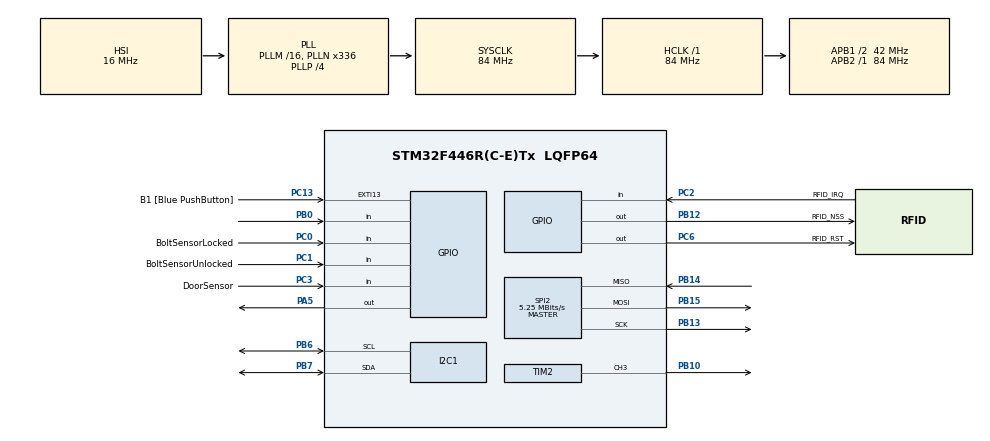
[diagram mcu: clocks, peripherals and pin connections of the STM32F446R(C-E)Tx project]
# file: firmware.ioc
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I2C1.I2C_Mode=I2C_Standard
Mcu.Family=STM32F4
Mcu.Name=STM32F446R(C-E)Tx
Mcu.Package=LQFP64
NUCLEO-F446RE.LD1=true
NVIC.PriorityGroup=NVIC_PRIORITYGROUP_0
PA13.GPIO_Label=TMS
PA13.Signal=SYS_JTMS-SWDIO
PA14.GPIO_Label=TCK
PA14.Signal=SYS_JTCK-SWCLK
PA2.GPIO_Label=USART_TX
PA2.Signal=USART2_TX
PA3.GPIO_Label=USART_RX
PA3.Signal=USART2_RX
PA5.Signal=GPIO_Output
PB0.Signal=GPIO_Input
PB10.Signal=S_TIM2_CH3
PB12.GPIO_Label=RFID_NSS
PB12.GPIO_PuPd=GPIO_PULLUP
PB12.PinState=GPIO_PIN_SET
PB12.Signal=GPIO_Output
PB13.Mode=Full_Duplex_Master
PB13.Signal=SPI2_SCK
PB14.Mode=Full_Duplex_Master
PB14.Signal=SPI2_MISO
PB15.Mode=Full_Duplex_Master
PB15.Signal=SPI2_MOSI
PB3.GPIO_Label=SWO
PB3.Signal=SYS_JTDO-SWO
PB6.Mode=I2C
PB6.Signal=I2C1_SCL
PB7.Mode=I2C
PB7.Signal=I2C1_SDA
PC0.GPIO_Label=BoltSensorLocked
PC0.GPIO_PuPd=GPIO_PULLUP
PC0.Signal=GPIO_Input
PC1.GPIO_Label=BoltSensorUnlocked
PC1.GPIO_PuPd=GPIO_PULLUP
PC1.Signal=GPIO_Input
PC13.GPIO_Label=B1 [Blue PushButton]
PC13.GPIO_ModeDefaultEXTI=GPIO_MODE_IT_FALLING
PC13.Signal=GPXTI13
PC14-OSC32_IN.Signal=RCC_OSC32_IN
PC15-OSC32_OUT.Signal=RCC_OSC32_OUT
PC2.GPIO_Label=RFID_IRQ
PC2.GPIO_PuPd=GPIO_PULLUP
PC2.Signal=GPIO_Input
PC3.GPIO_Label=DoorSensor
PC3.GPIO_PuPd=GPIO_PULLUP
PC3.Signal=GPIO_Input
PC6.GPIO_Label=RFID_RST
PC6.PinState=GPIO_PIN_SET
PC6.Signal=GPIO_Output
PH0-OSC_IN.Signal=RCC_OSC_IN
PH1-OSC_OUT.Signal=RCC_OSC_OUT
ProjectManager.HeapSize=0x200
ProjectManager.StackSize=0x400
ProjectManager.TargetToolchain=CMake
RCC.AHBFreq_Value=84000000
RCC.APB1CLKDivider=RCC_HCLK_DIV2
RCC.APB1Freq_Value=42000000
RCC.APB1TimFreq_Value=84000000
RCC.APB2Freq_Value=84000000
RCC.APB2TimFreq_Value=84000000
RCC.CortexFreq_Value=84000000
RCC.FLatency-AdvancedSettings=FLASH_LATENCY_2
RCC.HCLKFreq_Value=84000000
RCC.HSE_VALUE=8000000
RCC.HSI_VALUE=16000000
RCC.LSE_VALUE=32768
RCC.PLLN=336
RCC.PLLP=RCC_PLLP_DIV4
RCC.SYSCLKFreq_VALUE=84000000
RCC.SYSCLKSource=RCC_SYSCLKSOURCE_PLLCLK
RCC.USBFreq_Value=168000000
RCC.VCOOutputFreq_Value=336000000
SH.S_TIM2_CH3.0=TIM2_CH3,PWM Generation3 CH3
SPI2.BaudRatePrescaler=SPI_BAUDRATEPRESCALER_8
SPI2.CLKPhase=SPI_PHASE_1EDGE
SPI2.CalculateBaudRate=5.25 MBits/s
SPI2.Direction=SPI_DIRECTION_2LINES
SPI2.Mode=SPI_MODE_MASTER
SPI2.VirtualType=VM_MASTER
TIM2.Channel-PWM\ Generation3\ CH3=TIM_CHANNEL_3
TIM2.Period=19999
TIM2.Prescaler=83
TIM2.Pulse-PWM\ Generation3\ CH3=1500
VP_NUCLEO-F446RE_VS_BSP_COMMON.Mode=COMMON
VP_TIM2_VS_ClockSourceINT.Mode=Internal
board=NUCLEO-F446RE

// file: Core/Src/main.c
/* USER CODE BEGIN Header */
/**
  ******************************************************************************
  * @file           : main.c
  * @brief          : Main program body
  ******************************************************************************
  * @attention
  *
  * Copyright (c) 2026 STMicroelectronics.
  * All rights reserved.
  *
  * This software is licensed under terms that can be found in the LICENSE file
  * in the root directory of this software component.
  * If no LICENSE file comes with this software, it is provided AS-IS.
  *
  ******************************************************************************
  */
/* USER CODE END Header */
#include "main.h"

/* USER CODE BEGIN Includes */
#include <stdbool.h>
#include "access_controler.h"
#include "button.h"
#include "uart.h"
#include "sensors.h"
#include "rfid.h"
#include "oled.h"
#include "chars.h"
#include <string.h>

/* USER CODE END Includes */

I2C_HandleTypeDef hi2c1;

SPI_HandleTypeDef hspi2;

TIM_HandleTypeDef htim2;

void SystemClock_Config(void);
static void MX_GPIO_Init(void);
static void MX_TIM2_Init(void);
static void MX_SPI2_Init(void);
static void MX_I2C1_Init(void);

/* USER CODE BEGIN 0 */

SPI_HandleTypeDef* GetSPIHandleTypeDef(void)
{
  return &hspi2;
}

TIM_HandleTypeDef* GetTIMHandleTypeDef(void)
{
  return &htim2;
}

I2C_HandleTypeDef* GetI2CHandleTypeDef(void)
{
  return &hi2c1;
}

/* USER CODE END 0 */

int main(void)
{

  /* MCU Configuration--------------------------------------------------------*/

  /* Reset of all peripherals, Initializes the Flash interface and the Systick. */
  HAL_Init();

  /* Configure the system clock */
  SystemClock_Config();

  /* Initialize all configured peripherals */
  MX_GPIO_Init();
  MX_TIM2_Init();
  MX_SPI2_Init();
  MX_I2C1_Init();

  /* Initialize leds */
  BSP_LED_Init(LED2);

  /* Infinite loop */
  /* USER CODE BEGIN WHILE */

/*
M7-M8: Timebased Processes/Debounce/Interrupts
  - setup
  - rest in main loop
*/

const uint32_t DEBOUNCE_TIME_INTERVAL = 20U;
const uint32_t LED2_TIME_INTERVAL = 2000U;

GPIO_PinState AcceptedPinState = GPIO_PIN_SET;

bool LED2On = false;
uint32_t StartTimeLed2On = 0U;
uint32_t Counter = 0U;

/*
M9: UART:
  - send uint/string to terminal
  - receive input as interrupt
  - send input back to display for example in terminal
*/

Uart_Init();

const char *newLine= "\r\n";
const char *textStart = "Start:\r\n";
Uart_SendString(textStart);

const char *textNumber1 = "4.294.967.295:\r\n";
Uart_SendString(textNumber1);
uint32_t number1 = 4294967295U;
Uart_SendUint32(number1);
Uart_SendString(newLine);

// enable interrupt for RXNE (receive not empty)
USART2->CR1 |= USART_CR1_RXNEIE_Msk;
NVIC_EnableIRQ(USART2_IRQn);

// example uart ring buffer
uint8_t a = 0x41;
Uart_WriteRXBuffer(a);

/*
M10: Servo and PWM
  - first calibration of servo for locked and unlocked states
  - NOT FINISHED
*/

HAL_TIM_PWM_Start(&htim2, TIM_CHANNEL_3);

/*
M12: SPI basics - reading register
- send address of a register via SPI to the MFRC522 to read the content
- read ComIEnReg as example:
- address: 0x02
- expected register content: 0x80
*/

uint8_t ComIEnRegAddress = 0x02;

// assemble byte
uint8_t Read = 0x80;
uint8_t AddressPos = 1U;
uint8_t ReadComIEnRegByte = (ComIEnRegAddress << AddressPos) | Read;

uint8_t DummyByte = 0x00;

// enable SPI
SPI2->CR1 |= SPI_CR1_SPE_Msk;

//wait till tx empty is set
while((SPI2->SR & SPI_SR_TXE_Msk) == 0U)
{}
// reset NSS to start spi transfer
RFID_NSS_GPIO_Port->BSRR = (uint32_t)RFID_NSS_Pin << 16U;

// fill DR
SPI2->DR = ReadComIEnRegByte;

// handle received dummy byte
while((SPI2->SR & SPI_SR_RXNE_Msk) == 0U)
{}
(void)SPI2->DR;

//send dummybyte
while((SPI2->SR & SPI_SR_TXE_Msk) == 0U)
{}
SPI2->DR = DummyByte;

// receive ComIEnReg byte
while((SPI2->SR & SPI_SR_RXNE_Msk) == 0U)
{}
uint8_t ComIEnReg = SPI2->DR;

// set NSS to end transfer
RFID_NSS_GPIO_Port->BSRR = (uint32_t)RFID_NSS_Pin;

/*
M12: SPI basics - writing register
- write new value for TxSpeed in TxModeReg register
- TxModeReg: address 12h
- TxSpeed: bit 6 to 4
*/

uint8_t TxModeRegAddress = 0x12;
uint8_t ReadTxModeRegByte = (TxModeRegAddress << AddressPos) | Read;
uint8_t WriteTxModeRegByte = (TxModeRegAddress << AddressPos);

//current value of TxModeReg is 0x00

// set to 0011 0000

uint8_t TxSpeed = 3U;
uint8_t PositionTxSpeed = 4U;
uint8_t mask = 0x70; // 6:4

//reset register
uint8_t TxModeReg = SPI2->DR;
TxModeReg &= ~(mask);
TxModeReg |= TxSpeed << PositionTxSpeed;

// how to write new value into a register?
// first byte is address from the register and write mode
// second byte is the new value to be written into the register

while((SPI2->SR & SPI_SR_TXE_Msk) == 0U)
{}

RFID_NSS_GPIO_Port->BSRR = (uint32_t)RFID_NSS_Pin << 16U;

// fill DR with writebyte
SPI2->DR = WriteTxModeRegByte;

// handle received dummy byte
while((SPI2->SR & SPI_SR_RXNE_Msk) == 0U)
{}
(void)SPI2->DR;

//send new value for register
while((SPI2->SR & SPI_SR_TXE_Msk) == 0U)
{}
SPI2->DR = TxModeReg;

// handle received dummy byte
while((SPI2->SR & SPI_SR_RXNE_Msk) == 0U)
{}
(void)SPI2->DR;

// set NSS to end transfer
RFID_NSS_GPIO_Port->BSRR = (uint32_t)RFID_NSS_Pin;

//todo: write the reset value into the register and read afterwards again using HAL

// send byte with address and operation
// receive dummy (should be done by hal)
// send new value
// receive dummy

// read register

/*
M12: SPI basics (reading/writing register with HAL)
- read the TxModeRegister with HAL
- expected value: 0x30
- write the register to reset value 0x00 using HAL
- read again to confirm
*/

// SPI transfer variables
const uint8_t SPIsizeTransferData = 2U;
const uint32_t SPItimeoutTransferDurationMS = 10U;

// read TxModeRegister

RFID_NSS_GPIO_Port->BSRR = (uint32_t)RFID_NSS_Pin << 16U;

const uint8_t ReadTxModeRegData[] = {ReadTxModeRegByte, DummyByte};
uint8_t RxDataSPI[2] = {0xff, 0xff};
HAL_SPI_TransmitReceive(&hspi2, ReadTxModeRegData, RxDataSPI, SPIsizeTransferData, SPItimeoutTransferDurationMS);

RFID_NSS_GPIO_Port->BSRR = (uint32_t)RFID_NSS_Pin;

// write TxModeRegister

RFID_NSS_GPIO_Port->BSRR = (uint32_t)RFID_NSS_Pin << 16U;

uint8_t TxModeRegResetValue = 0x00U;
const uint8_t WriteTxModeRegData[] = {WriteTxModeRegByte, TxModeRegResetValue};
HAL_SPI_TransmitReceive(&hspi2, WriteTxModeRegData, RxDataSPI, SPIsizeTransferData, SPItimeoutTransferDurationMS);

RFID_NSS_GPIO_Port->BSRR = (uint32_t)RFID_NSS_Pin;

// read TxModeRegister

RFID_NSS_GPIO_Port->BSRR = (uint32_t)RFID_NSS_Pin << 16U;

HAL_SPI_TransmitReceive(&hspi2, ReadTxModeRegData, RxDataSPI, SPIsizeTransferData, SPItimeoutTransferDurationMS);

RFID_NSS_GPIO_Port->BSRR = (uint32_t)RFID_NSS_Pin;

/*
M13: MFRC522 Driver
*/

// enable interrupt:

// clean EXTI2 and set it for port C
SYSCFG->EXTICR[0] &= ~(SYSCFG_EXTICR1_EXTI2_Msk);
SYSCFG->EXTICR[0] |= SYSCFG_EXTICR1_EXTI2_PC;

// set Falling Trigger Selection Register for EXTI2
EXTI->FTSR |= EXTI_FTSR_TR2_Msk;

// set Interrupt Mask Register so the trigger can be used as interrupt
EXTI->IMR |= EXTI_IMR_MR2_Msk;

// enable the IRQ in NVIC
NVIC_EnableIRQ(EXTI2_IRQn);

/*MFRC522_ExecuteCommand(SOFT_RESET_COMMAND);
HAL_Delay(1000);
MFRC522Status UIDStatus = MFRC522_InitTransceive();
HAL_Delay(1000);
*/

ACCESS_CONTROLER_InitRFID();
SSD1306_InitOLED();

while (1) {

if(ACCESS_CONTROLER_GetCurrentAccessControlerState() == UNINITIALIZED)
{
  ACCESS_CONTROLER_InitState();
}

ACCESS_CONTROLER_Run();

}

/*
UIDStatus = MFRC522_DetectUID(&TestUID);
bool IsValid = false;
UIDStatus =  MFRC522_ValidateUID(&TestUID, 4U, &IsValid);
if(IsValid)
{
  uint8_t asd = 1U;
}
*/

while (1)
{

/*
M7-M8: Timebased Processes/Interrupts
  - when button is pushed, LED is on for 2 seconds
  - push of button is tracked with interrupt
  - race conditions are covered
  - debounce of button push is implemented (after 20ms new button state is accepted)
*/

// deactivate interrupt to avoid race condition / critical section
NVIC->ICER[0] = 1U << EXTI0_IRQn;

// new pin state B0 accepted
if(((HAL_GetTick() - GetStartTimeDebounce()) >= DEBOUNCE_TIME_INTERVAL) && (GetCurrentPinState() != AcceptedPinState))
{
  AcceptedPinState = GetCurrentPinState();

  if(AcceptedPinState == GPIO_PIN_RESET)
  {
    ++Counter;

    Uart_SendString("countervalue:\r\n");
    Uart_SendUint32(Counter);
    Uart_SendString(newLine);

    if(!LED2On)
    {
      GPIOA->BSRR = (uint32_t)LED2_PIN;
      StartTimeLed2On = HAL_GetTick();
      LED2On = true;
    }
  }
}

  // Activate interrupt again
  NVIC->ISER[0] = 1U << EXTI0_IRQn;

  // turn of led after time interval
  if(((HAL_GetTick() - StartTimeLed2On) >= LED2_TIME_INTERVAL) && (LED2On == true))
    {
      GPIOA->BSRR = (uint32_t)LED2_PIN << 16U;
      LED2On = false;
    }

/*
M9: UART
  - read keyboard input from Uart Ring buffer for new values (get written by interrupt)
  - display
*/
uint8_t receivedRXValue;

if(Uart_ReadRXBuffer(&receivedRXValue))
{
  Uart_SendByte(receivedRXValue);
}

/*
M11: Sensors
  - update the current lock state with both sensors
  - TODO: Lockedsensor->PC0->PinA5
          Unlockedsensor->PC1->PinA4
*/

SENSORS_UpdateLockState();

}
    /* USER CODE END WHILE */

}

void SystemClock_Config(void)
{
  RCC_OscInitTypeDef RCC_OscInitStruct = {0};
  RCC_ClkInitTypeDef RCC_ClkInitStruct = {0};

  /** Configure the main internal regulator output voltage
  */
  __HAL_RCC_PWR_CLK_ENABLE();
  __HAL_PWR_VOLTAGESCALING_CONFIG(PWR_REGULATOR_VOLTAGE_SCALE3);

  /** Initializes the RCC Oscillators according to the specified parameters
  * in the RCC_OscInitTypeDef structure.
  */
  RCC_OscInitStruct.OscillatorType = RCC_OSCILLATORTYPE_HSI;
  RCC_OscInitStruct.HSIState = RCC_HSI_ON;
  RCC_OscInitStruct.HSICalibrationValue = RCC_HSICALIBRATION_DEFAULT;
  RCC_OscInitStruct.PLL.PLLState = RCC_PLL_ON;
  RCC_OscInitStruct.PLL.PLLSource = RCC_PLLSOURCE_HSI;
  RCC_OscInitStruct.PLL.PLLM = 16;
  RCC_OscInitStruct.PLL.PLLN = 336;
  RCC_OscInitStruct.PLL.PLLP = RCC_PLLP_DIV4;
  RCC_OscInitStruct.PLL.PLLQ = 2;
  RCC_OscInitStruct.PLL.PLLR = 2;
  if (HAL_RCC_OscConfig(&RCC_OscInitStruct) != HAL_OK)
  {
    Error_Handler();
  }

  /** Initializes the CPU, AHB and APB buses clocks
  */
  RCC_ClkInitStruct.ClockType = RCC_CLOCKTYPE_HCLK|RCC_CLOCKTYPE_SYSCLK
                              |RCC_CLOCKTYPE_PCLK1|RCC_CLOCKTYPE_PCLK2;
  RCC_ClkInitStruct.SYSCLKSource = RCC_SYSCLKSOURCE_PLLCLK;
  RCC_ClkInitStruct.AHBCLKDivider = RCC_SYSCLK_DIV1;
  RCC_ClkInitStruct.APB1CLKDivider = RCC_HCLK_DIV2;
  RCC_ClkInitStruct.APB2CLKDivider = RCC_HCLK_DIV1;

  if (HAL_RCC_ClockConfig(&RCC_ClkInitStruct, FLASH_LATENCY_2) != HAL_OK)
  {
    Error_Handler();
  }
}

static void MX_I2C1_Init(void)
{

  hi2c1.Instance = I2C1;
  hi2c1.Init.ClockSpeed = 100000;
  hi2c1.Init.DutyCycle = I2C_DUTYCYCLE_2;
  hi2c1.Init.OwnAddress1 = 0;
  hi2c1.Init.AddressingMode = I2C_ADDRESSINGMODE_7BIT;
  hi2c1.Init.DualAddressMode = I2C_DUALADDRESS_DISABLE;
  hi2c1.Init.OwnAddress2 = 0;
  hi2c1.Init.GeneralCallMode = I2C_GENERALCALL_DISABLE;
  hi2c1.Init.NoStretchMode = I2C_NOSTRETCH_DISABLE;
  if (HAL_I2C_Init(&hi2c1) != HAL_OK)
  {
    Error_Handler();
  }

}

static void MX_SPI2_Init(void)
{

  /* SPI2 parameter configuration*/
  hspi2.Instance = SPI2;
  hspi2.Init.Mode = SPI_MODE_MASTER;
  hspi2.Init.Direction = SPI_DIRECTION_2LINES;
  hspi2.Init.DataSize = SPI_DATASIZE_8BIT;
  hspi2.Init.CLKPolarity = SPI_POLARITY_LOW;
  hspi2.Init.CLKPhase = SPI_PHASE_1EDGE;
  hspi2.Init.NSS = SPI_NSS_SOFT;
  hspi2.Init.BaudRatePrescaler = SPI_BAUDRATEPRESCALER_8;
  hspi2.Init.FirstBit = SPI_FIRSTBIT_MSB;
  hspi2.Init.TIMode = SPI_TIMODE_DISABLE;
  hspi2.Init.CRCCalculation = SPI_CRCCALCULATION_DISABLE;
  hspi2.Init.CRCPolynomial = 10;
  if (HAL_SPI_Init(&hspi2) != HAL_OK)
  {
    Error_Handler();
  }

}

static void MX_TIM2_Init(void)
{

  TIM_ClockConfigTypeDef sClockSourceConfig = {0};
  TIM_MasterConfigTypeDef sMasterConfig = {0};
  TIM_OC_InitTypeDef sConfigOC = {0};

  htim2.Instance = TIM2;
  htim2.Init.Prescaler = 83;
  htim2.Init.CounterMode = TIM_COUNTERMODE_UP;
  htim2.Init.Period = 19999;
  htim2.Init.ClockDivision = TIM_CLOCKDIVISION_DIV1;
  htim2.Init.AutoReloadPreload = TIM_AUTORELOAD_PRELOAD_DISABLE;
  if (HAL_TIM_Base_Init(&htim2) != HAL_OK)
  {
    Error_Handler();
  }
  sClockSourceConfig.ClockSource = TIM_CLOCKSOURCE_INTERNAL;
  if (HAL_TIM_ConfigClockSource(&htim2, &sClockSourceConfig) != HAL_OK)
  {
    Error_Handler();
  }
  if (HAL_TIM_PWM_Init(&htim2) != HAL_OK)
  {
    Error_Handler();
  }
  sMasterConfig.MasterOutputTrigger = TIM_TRGO_RESET;
  sMasterConfig.MasterSlaveMode = TIM_MASTERSLAVEMODE_DISABLE;
  if (HAL_TIMEx_MasterConfigSynchronization(&htim2, &sMasterConfig) != HAL_OK)
  {
    Error_Handler();
  }
  sConfigOC.OCMode = TIM_OCMODE_PWM1;
  sConfigOC.Pulse = 1500;
  sConfigOC.OCPolarity = TIM_OCPOLARITY_HIGH;
  sConfigOC.OCFastMode = TIM_OCFAST_DISABLE;
  if (HAL_TIM_PWM_ConfigChannel(&htim2, &sConfigOC, TIM_CHANNEL_3) != HAL_OK)
  {
    Error_Handler();
  }
  HAL_TIM_MspPostInit(&htim2);

}

static void MX_GPIO_Init(void)
{
  GPIO_InitTypeDef GPIO_InitStruct = {0};

  /* GPIO Ports Clock Enable */
  __HAL_RCC_GPIOC_CLK_ENABLE();
  __HAL_RCC_GPIOH_CLK_ENABLE();
  __HAL_RCC_GPIOA_CLK_ENABLE();
  __HAL_RCC_GPIOB_CLK_ENABLE();

  /*Configure GPIO pin Output Level */
  HAL_GPIO_WritePin(RFID_NSS_GPIO_Port, RFID_NSS_Pin, GPIO_PIN_SET);

  /*Configure GPIO pin Output Level */
  HAL_GPIO_WritePin(RFID_RST_GPIO_Port, RFID_RST_Pin, GPIO_PIN_SET);

  /*Configure GPIO pin : B1_Pin */
  GPIO_InitStruct.Pin = B1_Pin;
  GPIO_InitStruct.Mode = GPIO_MODE_IT_FALLING;
  GPIO_InitStruct.Pull = GPIO_NOPULL;
  HAL_GPIO_Init(B1_GPIO_Port, &GPIO_InitStruct);

  /*Configure GPIO pins : BoltSensorLocked_Pin BoltSensorUnlocked_Pin RFID_IRQ_Pin DoorSensor_Pin */
  GPIO_InitStruct.Pin = BoltSensorLocked_Pin|BoltSensorUnlocked_Pin|RFID_IRQ_Pin|DoorSensor_Pin;
  GPIO_InitStruct.Mode = GPIO_MODE_INPUT;
  GPIO_InitStruct.Pull = GPIO_PULLUP;
  HAL_GPIO_Init(GPIOC, &GPIO_InitStruct);

  /*Configure GPIO pins : USART_TX_Pin USART_RX_Pin */
  GPIO_InitStruct.Pin = USART_TX_Pin|USART_RX_Pin;
  GPIO_InitStruct.Mode = GPIO_MODE_AF_PP;
  GPIO_InitStruct.Pull = GPIO_NOPULL;
  GPIO_InitStruct.Speed = GPIO_SPEED_FREQ_VERY_HIGH;
  GPIO_InitStruct.Alternate = GPIO_AF7_USART2;
  HAL_GPIO_Init(GPIOA, &GPIO_InitStruct);

  /*Configure GPIO pin : PB0 */
  GPIO_InitStruct.Pin = GPIO_PIN_0;
  GPIO_InitStruct.Mode = GPIO_MODE_INPUT;
  GPIO_InitStruct.Pull = GPIO_NOPULL;
  HAL_GPIO_Init(GPIOB, &GPIO_InitStruct);

  /*Configure GPIO pin : RFID_NSS_Pin */
  GPIO_InitStruct.Pin = RFID_NSS_Pin;
  GPIO_InitStruct.Mode = GPIO_MODE_OUTPUT_PP;
  GPIO_InitStruct.Pull = GPIO_PULLUP;
  GPIO_InitStruct.Speed = GPIO_SPEED_FREQ_LOW;
  HAL_GPIO_Init(RFID_NSS_GPIO_Port, &GPIO_InitStruct);

  /*Configure GPIO pin : RFID_RST_Pin */
  GPIO_InitStruct.Pin = RFID_RST_Pin;
  GPIO_InitStruct.Mode = GPIO_MODE_OUTPUT_PP;
  GPIO_InitStruct.Pull = GPIO_NOPULL;
  GPIO_InitStruct.Speed = GPIO_SPEED_FREQ_LOW;
  HAL_GPIO_Init(RFID_RST_GPIO_Port, &GPIO_InitStruct);

  /* USER CODE BEGIN MX_GPIO_Init_2 */

  // enable the clock for SYSCFG (hangs on APB2) | is done by cube already
  RCC->APB2ENR |= RCC_APB2ENR_SYSCFGEN;

  // Clean EXTI0 and set it for port B (EXTICR = External Interrupt Configuration Register)
  SYSCFG->EXTICR[0] &= ~(SYSCFG_EXTICR1_EXTI0_Msk);
  SYSCFG->EXTICR[0] |= SYSCFG_EXTICR1_EXTI0_PB;

  // set Falling and Rising Trigger Selection Register for EXTI0
  EXTI->FTSR |= EXTI_FTSR_TR0_Msk;
  EXTI->RTSR |= EXTI_RTSR_TR0_Msk;

  // set Interrupt Mask Register so the trigger can be used as interrupt
  EXTI->IMR |= EXTI_IMR_MR0_Msk;

  // enable the IRQ in NVIC
  NVIC->ISER[0] = 1U << EXTI0_IRQn;

  /* USER CODE END MX_GPIO_Init_2 */
}

void Error_Handler(void)
{
  __disable_irq();
  while (1)
  {
  }
}
